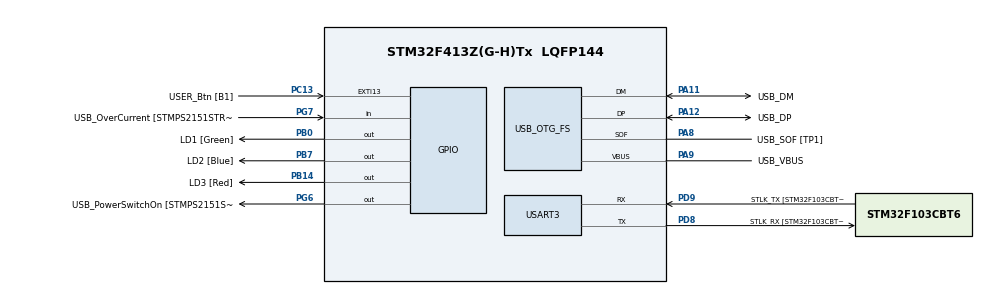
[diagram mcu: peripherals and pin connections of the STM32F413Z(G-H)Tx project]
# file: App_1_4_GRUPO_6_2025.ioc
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Mcu.Family=STM32F4
Mcu.Name=STM32F413Z(G-H)Tx
Mcu.Package=LQFP144
NVIC.PriorityGroup=NVIC_PRIORITYGROUP_4
PA10.GPIO_Label=USB_ID
PA10.Signal=USB_OTG_FS_ID
PA11.GPIO_Label=USB_DM
PA11.Mode=Device_Only
PA11.Signal=USB_OTG_FS_DM
PA12.GPIO_Label=USB_DP
PA12.Mode=Device_Only
PA12.Signal=USB_OTG_FS_DP
PA13.GPIO_Label=TMS
PA13.Mode=Serial_Wire
PA13.Signal=SYS_JTMS-SWDIO
PA14.GPIO_Label=TCK
PA14.Mode=Serial_Wire
PA14.Signal=SYS_JTCK-SWCLK
PA8.GPIO_Label=USB_SOF [TP1]
PA8.Mode=Activate_SOF_FS
PA8.Signal=USB_OTG_FS_SOF
PA9.GPIO_Label=USB_VBUS
PA9.Mode=Activate_VBUS
PA9.Signal=USB_OTG_FS_VBUS
PB0.GPIO_Label=LD1 [Green]
PB0.Signal=GPIO_Output
PB14.GPIO_Label=LD3 [Red]
PB14.Signal=GPIO_Output
PB3.GPIO_Label=SWO
PB3.Signal=SYS_JTDO-SWO
PB7.GPIO_Label=LD2 [Blue]
PB7.Signal=GPIO_Output
PC13.GPIO_Label=USER_Btn [B1]
PC13.Signal=GPXTI13
PC14-OSC32_IN.Mode=LSE-External-Oscillator
PC14-OSC32_IN.Signal=RCC_OSC32_IN
PC15-OSC32_OUT.Mode=LSE-External-Oscillator
PC15-OSC32_OUT.Signal=RCC_OSC32_OUT
PD8.GPIO_Label=STLK_RX [STM32F103CBT6_PA3]
PD8.Mode=Asynchronous
PD8.Signal=USART3_TX
PD9.GPIO_Label=STLK_TX [STM32F103CBT6_PA2]
PD9.Mode=Asynchronous
PD9.Signal=USART3_RX
PG6.GPIO_Label=USB_PowerSwitchOn [STMPS2151STR_EN]
PG6.Signal=GPIO_Output
PG7.GPIO_Label=USB_OverCurrent [STMPS2151STR_FAULT]
PG7.Signal=GPIO_Input
PH0\ -\ OSC_IN.GPIO_Label=MCO
PH0\ -\ OSC_IN.Mode=HSE-External-Clock-Source
PH0\ -\ OSC_IN.Signal=RCC_OSC_IN
PH1\ -\ OSC_OUT.Mode=HSE-External-Clock-Source
PH1\ -\ OSC_OUT.Signal=RCC_OSC_OUT
ProjectManager.HeapSize=0x200
ProjectManager.StackSize=0x400
ProjectManager.TargetToolchain=STM32CubeIDE
RCC.48MHZClocksFreq_Value=24000000
RCC.AHBFreq_Value=96000000
RCC.APB1CLKDivider=RCC_HCLK_DIV2
RCC.APB1Freq_Value=48000000
RCC.APB1TimFreq_Value=96000000
RCC.APB2Freq_Value=96000000
RCC.APB2TimFreq_Value=96000000
RCC.CortexFreq_Value=96000000
RCC.HCLKFreq_Value=96000000
RCC.HSE_VALUE=8000000
RCC.HSI_VALUE=16000000
RCC.PLLM=8
RCC.PLLMUL=RCC_PLL_MUL9
RCC.PLLN=384
RCC.PLLP=RCC_PLLP_DIV4
RCC.PLLQ=8
RCC.PRESCALERUSB=RCC_USBCLKSOURCE_PLL_DIV1_5
RCC.SYSCLKFreq_VALUE=96000000
RCC.SYSCLKSource=RCC_SYSCLKSOURCE_PLLCLK
RCC.SYSCLKSourceVirtual=RCC_SYSCLKSOURCE_PLLCLK
RCC.USBFreq_Value=48000000
RCC.VCOOutputFreq_Value=384000000
USART3.VirtualMode=VM_ASYNC
USB_OTG_FS.VirtualMode=Device_Only
board=NUCLEO-F413ZH

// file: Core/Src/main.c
/* USER CODE BEGIN Header */
/**
  ******************************************************************************
  * @file           : main.c
  * @brief          : Main program body
  ******************************************************************************
  * @attention
  *
  * Copyright (c) 2025 STMicroelectronics.
  * All rights reserved.
  *
  * This software is licensed under terms that can be found in the LICENSE file
  * in the root directory of this software component.
  * If no LICENSE file comes with this software, it is provided AS-IS.
  *
  ******************************************************************************
  */
/* USER CODE END Header */
#include "main.h"
#include "API_GPIO.h"
#include "API_Delay.h"
#include "API_Debounce.h"

typedef enum{				//Se definen dos constantes enum para las secuencias y se utiliza typedef para asignarle el alias secuencia
	secuencia_1=0,
	secuencia_2=1,
	secuencia_3=2,
	secuencia_4=3
} secuencia;

/* USER CODE BEGIN PD */
#define N 3 																		// Variable N para definir el tamaño del vector LED
/* USER CODE END PD */

/* USER CODE BEGIN PV */
uint16_t 	LED[N]={LD1_Pin, LD2_Pin, LD3_Pin};										//vector de leds
secuencia 	estado_secuencia=secuencia_1;  											//el estado inicial sera la secuencia normal
bool_t	 	estado_boton=0;
delay_t delay1, delay2, delay3, delay4;
/* USER CODE END PV */
/* USER CODE BEGIN PFP */
void SystemClock_Config(void);
void MX_GPIO_Init(void);

void secuencia1(void);
void secuencia2(void);
void secuencia3(void);
void secuencia4(void);
/* USER CODE END PFP */

/* USER CODE BEGIN 0 */
bool_t readButton = true;
/* USER CODE END 0 */

int main(void)
{
  /* USER CODE BEGIN 1 */
	delayInit(&delay1, 100);
	delayInit(&delay2, 250);
	delayInit(&delay3, 500);
	delayInit(&delay4, 1000);													//600ms
  /* USER CODE END 1 */

  /* MCU Configuration-------------------------------------------------------------------------------------------------------------------------------------------*/

  /* Reset of all peripherals, Initializes the Flash interface and the Systick. */
  HAL_Init();

  /* Configure the system clock */
  SystemClock_Config();

  /* Initialize all configured peripherals */
  MX_GPIO_Init();
  MX_USART3_UART_Init();
  MX_USB_OTG_FS_PCD_Init();

  /* USER CODE BEGIN 2 */
  writeLedOff_GPIO(LED[0] | LED[1] | LED[2]);
  debounceFSM_init();
  /* USER CODE END 2 */

  /* Infinite loop */
  /* USER CODE BEGIN WHILE */
  /*-----------------------------------------------------------------------------------------------------------------------------------------------------------*/
  while (1){
	/* Programa para hacer parpadear leds en secuencia cada 200 ms */
	  readButton = readButton_GPIO(); 												// Lee estado actual del boton y lo guarda
	  debounceFSM_update(readButton);
	  if(readKey()){
		 estado_secuencia=(estado_secuencia+1)%4;									// Cambia entre las 4 secuencias
		 writeLedOff_GPIO(LED[0] | LED[1] | LED[2]);								// Se apagan todos los leds antes de comenzar una nueva secuencia
	  }

	  /* Selecciona cual secuencia se ejecutara*/
	  switch (estado_secuencia){

	  	  case 0:
	  		  	  	  secuencia1();
	  		  	  	  break;
	  	  case 1:
	  		  		  secuencia2();
	  		  		  break;
	  	  case 2:
	  		  		  secuencia3();
	  		  		  break;
	  	  case 3:
	  		  		  secuencia4();
	  		  		  break;
	  }
  }
/* USER CODE END WHILE */

}
/* USER CODE BEGIN 4 */
// Funcion para hacer parpadear simultaneamente todos los leds cada 100ms
void secuencia1(void){
	if(delayRead(&delay1)){
		toggleLed_GPIO( LED[0] | LED[1]| LED[2]);
	}
}

// Funcion para hacer parpadear simultaneamente todos los leds cada 250ms
void secuencia2(void){

	if(delayRead(&delay2)){
		toggleLed_GPIO( LED[0] | LED[1]| LED[2]);
	}
}

// Funcion para hacer parpadear simultaneamente todos los leds cada 500ms
void secuencia3(){

	if(delayRead(&delay3)){
		toggleLed_GPIO( LED[0] | LED[1]| LED[2]);
	}
}

// Funcion para hacer parpadear simultaneamente todos los leds cada 1000ms
void secuencia4(){

	if(delayRead(&delay4)){
		toggleLed_GPIO( LED[0] | LED[1]| LED[2]);
	}
}
/* USER CODE END 4 */

void Error_Handler(void){
  __disable_irq();
  while (1){
  }
}
